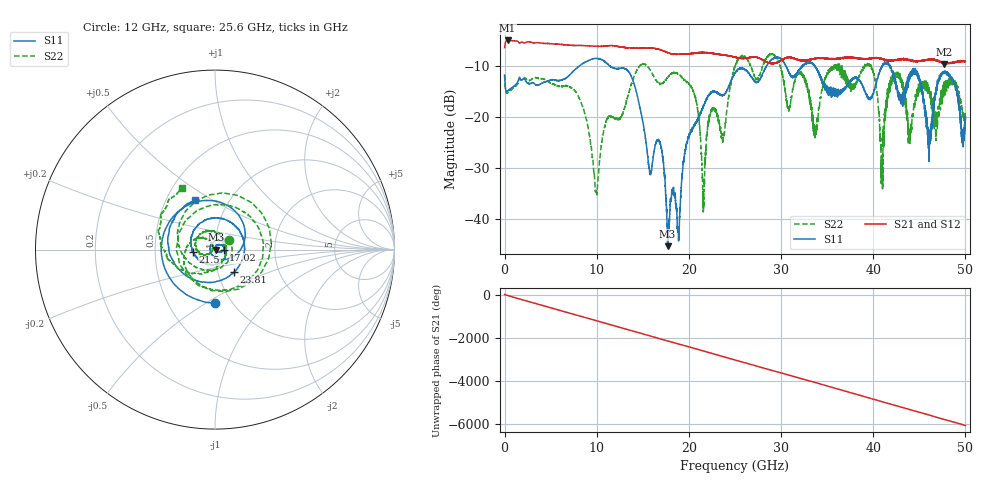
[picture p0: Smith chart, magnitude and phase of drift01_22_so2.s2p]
!Created with skrf (http://scikit-rf.org).
# Hz S RI R 50.0
!freq ReS11 ImS11 ReS21 ImS21 ReS12 ImS12 ReS22 ImS22
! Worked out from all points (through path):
!   10001 points, 300 kHz to 50 GHz, reference 50 ohm
!   highest |S21| = -5.05 dB at 315.3 MHz (marker M1); lowest = -9.7 dB at 47.67 GHz (marker M2)
!   group delay of S21, straight-line fit = 336 ps
!   lowest |S11| = -45.3 dB at 17.69 GHz (marker M3), VSWR 1.01, Z = 50.5 - j0.0976 ohm
!   |S11| at or under -10 dB: start of sweep to 8.145 GHz; 11.41 GHz to 28.44 GHz (17.03 GHz wide, 85.5 % of centre); 41.79 GHz to end of sweep (the widest 3 of 14)
!   |S22| runs from -38.6 to -7.6 dB; largest |S21 - S12| = 0.012
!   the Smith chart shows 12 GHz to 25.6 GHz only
!   S11 on the Smith chart (normalised r, x): 12 GHz: 0.84, -0.55; 17.02 GHz: 1.10, -0.00; 21.5 GHz: 0.78, -0.02; 23.81 GHz: 1.19, -0.31; 25.6 GHz: 0.70, +0.42
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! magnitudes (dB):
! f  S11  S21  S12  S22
! 300 kHz  -11.8  -6.5  -6.5  -11.8
! 315.3 MHz  -15.0  -5.1  -5.1  -15.4
! 8.335 GHz  -9.7  -6.0  -6.0  -17.4
! 9.935 GHz  -8.6  -6.2  -6.2  -34.5
! 12 GHz  -10.5  -6.1  -6.1  -20.4
! 15.78 GHz  -31.1  -6.5  -6.5  -10.8
! 16.67 GHz  -24.4  -6.8  -6.8  -13.4
! 17.02 GHz  -26.3  -6.9  -6.9  -13.6
! 17.69 GHz  -45.3  -7.4  -7.4  -12.3
! 20.5 GHz  -22.0  -7.6  -7.6  -15.0
! 21.5 GHz  -18.1  -7.4  -7.4  -34.7
! 22.45 GHz  -15.2  -7.6  -7.5  -18.9
! 23.81 GHz  -15.7  -7.9  -7.9  -23.4
! 25 GHz  -11.4  -8.4  -8.4  -10.2
! 25.6 GHz  -10.5  -8.5  -8.5  -8.1
! 33.34 GHz  -9.5  -8.7  -8.7  -19.8
! 39.51 GHz  -16.5  -8.6  -8.6  -9.9
! 40.95 GHz  -10.1  -8.7  -8.6  -29.3
! 41.67 GHz  -9.8  -8.9  -9.0  -15.0
! 46.1 GHz  -24.7  -8.8  -8.8  -15.3
! 47.67 GHz  -11.4  -9.7  -9.6  -15.0
! 50 GHz  -20.6  -9.2  -9.1  -20.0
